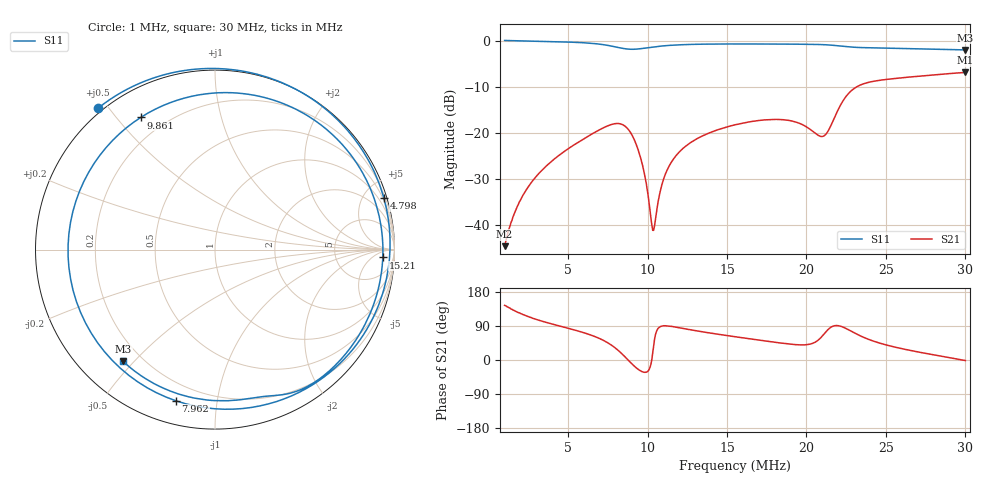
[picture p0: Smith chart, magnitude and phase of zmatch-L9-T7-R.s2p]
# HZ S RI R 50
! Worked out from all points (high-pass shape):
!   505 points, 1 MHz to 30 MHz, reference 50 ohm
!   highest |S21| = -6.78 dB at 30 MHz (marker M1); lowest = -44.7 dB at 1 MHz (marker M2)
!   |S21| within 3 dB of the highest: 23.24 MHz to end of sweep
!   lowest |S11| = -1.9 dB at 30 MHz (marker M3), VSWR 9.31, Z = 6.55 - j23.3 ohm
!   |S11| at or under -10 dB: nowhere
!   S12 and S22 are empty: the file has one direction only
!   S11 on the Smith chart (normalised r, x): 1 MHz: -0.01, +0.47; 4.798 MHz: 0.38, +6.67; 7.962 MHz: 0.11, -0.77; 9.861 MHz: 0.11, +0.58; 15.21 MHz: 20, -14; 30 MHz: 0.13, -0.47
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1000000  -0.6493 0.7892  -0.00472 0.00341  0 0  0 0
2553580  0.2351 0.9769  -0.0107 0.0247  0 0  0 0
3704380  0.7046 0.7013  -0.00649 0.0445  0 0  0 0
4797640  0.9406 0.2875  0.00445 0.0635  0 0  0 0
5833360  0.9492 -0.1889  0.023 0.0801  0 0  0 0
6926620  0.6066 -0.7103  0.0575 0.0906  0 0  0 0
7962340  -0.2178 -0.8423  0.1074 0.0667  0 0  0 0
8882980  -0.8137 -0.1015  0.1034 -0.00868  0 0  0 0
9285760  -0.7544 0.3265  0.07 -0.0265  0 0  0 0
9861160  -0.4142 0.736  0.0267 -0.0169  0 0  0 0
1.032148e7  -0.0929 0.8615  0.00821 0.00279  0 0  0 0
1.066672e7  0.122 0.8724  0.00197 0.0179  0 0  0 0
1.13572e7  0.4521 0.7814  0.000447 0.0436  0 0  0 0
1.2508e7  0.7618 0.5209  0.0114 0.0735  0 0  0 0
1.521238e7  0.9348 -0.0435  0.0539 0.1065  0 0  0 0
1.550008e7  0.9313 -0.0931  0.0587 0.1079  0 0  0 0
2.033344e7  0.6004 -0.7065  0.0775 0.0728  0 0  0 0
2.1139e7  0.501 -0.7697  0.0317 0.0886  0 0  0 0
2.211718e7  0.3683 -0.8094  0.00183 0.198  0 0  0 0
2.321044e7  0.2472 -0.8214  0.1243 0.2975  0 0  0 0
2.51668e7  0.0353 -0.8426  0.3041 0.2385  0 0  0 0
3.000016e7  -0.5115 -0.623  0.4578 -0.0116  0 0  0 0
